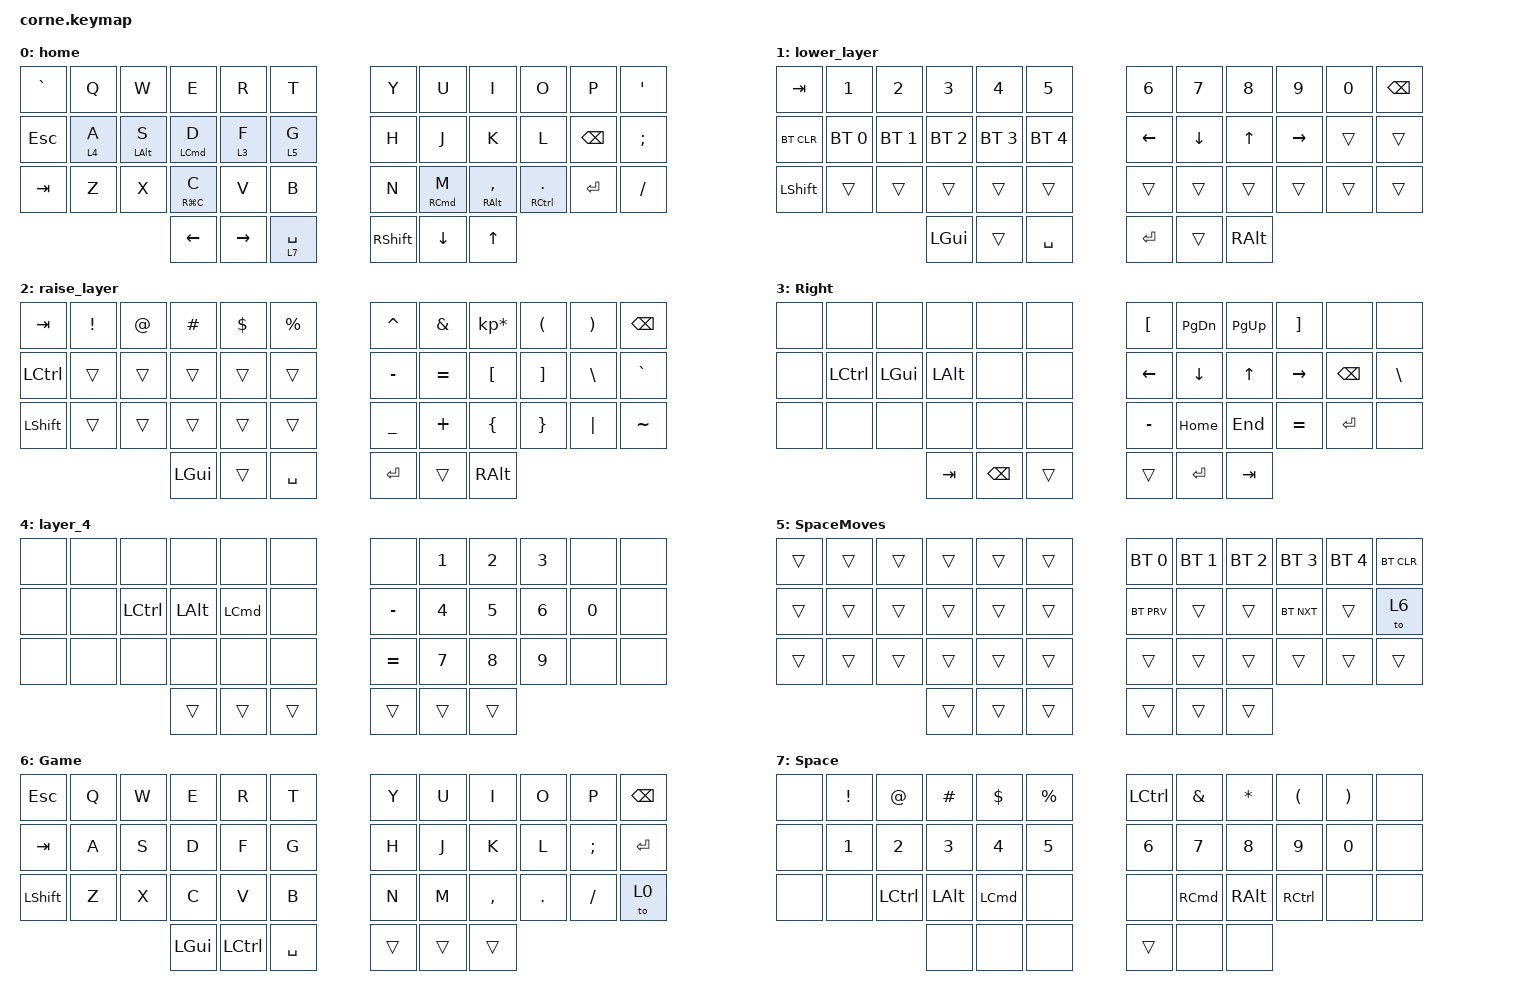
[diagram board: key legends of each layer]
/*
 * Copyright (c) 2020 The ZMK Contributors
 *
 * SPDX-License-Identifier: MIT
 */

#include <behaviors.dtsi>
#include <dt-bindings/zmk/bt.h>
#include <dt-bindings/zmk/keys.h>

/ {
    behaviors {
        ht: ht {
            compatible = "zmk,behavior-hold-tap";
            label = "Hold Tap";
            bindings =
                <&kp>,
                <&kp>;

            #binding-cells = <2>;
            tapping-term-ms = <400>;
            flavor = "balanced";
        };
        htL: htL {
            compatible = "zmk,behavior-hold-tap";
            label = "HTL";
            bindings =
                <&mo>,
                <&kp>;

            #binding-cells = <2>;
            tapping-term-ms = <400>;
            flavor = "balanced";
        };
    };

    keymap {
        compatible = "zmk,keymap";

        home {
            // -----------------------------------------------------------------------------------------
            // |  TAB |  Q  |  W  |  E  |  R  |  T  |   |  Y  |  U   |  I  |  O  |  P  | BKSP |
            // | CTRL |  A  |  S  |  D  |  F  |  G  |   |  H  |  J   |  K  |  L  |  ;  |  '   |
            // | SHFT |  Z  |  X  |  C  |  V  |  B  |   |  N  |  M   |  ,  |  .  |  /  | ESC  |
            //                    | GUI | LWR | SPC |   | ENT | RSE  | ALT |

            bindings = <
&kp GRAVE  &kp Q     &kp W       &kp E        &kp R      &kp T           &kp Y            &kp U       &kp I                &kp O             &kp P          &kp SQT
&kp ESC    &htL 4 A  &ht LALT S  &ht LCMD D   &htL 3 F   &htL 5 G        &kp H            &kp J       &kp K                &kp L             &kp BACKSPACE  &kp SEMICOLON
&kp TAB    &kp Z     &kp X       &ht RG(C) C  &kp V      &kp B           &kp N            &ht RCMD M  &ht RIGHT_ALT COMMA  &ht RCTRL PERIOD  &kp RETURN     &kp SLASH
                                 &kp LEFT     &kp RIGHT  &htL 7 SPACE    &kp RIGHT_SHIFT  &kp DOWN    &kp UP_ARROW
            >;
        };

        lower_layer {
            // -----------------------------------------------------------------------------------------
            // |  TAB |  1  |  2  |  3  |  4  |  5  |   |  6  |  7  |  8  |  9  |  0  | BKSP |
            // | BTCLR| BT1 | BT2 | BT3 | BT4 | BT5 |   | LFT | DWN |  UP | RGT |     |      |
            // | SHFT |     |     |     |     |     |   |     |     |     |     |     |      |
            //                    | GUI |     | SPC |   | ENT |     | ALT |

            bindings = <
&kp TAB     &kp N1        &kp N2        &kp N3        &kp N4        &kp N5          &kp N6    &kp N7    &kp N8    &kp N9     &kp N0  &kp BSPC
&bt BT_CLR  &bt BT_SEL 0  &bt BT_SEL 1  &bt BT_SEL 2  &bt BT_SEL 3  &bt BT_SEL 4    &kp LEFT  &kp DOWN  &kp UP    &kp RIGHT  &trans  &trans
&kp LSHFT   &trans        &trans        &trans        &trans        &trans          &trans    &trans    &trans    &trans     &trans  &trans
                                        &kp LGUI      &trans        &kp SPACE       &kp RET   &trans    &kp RALT
            >;
        };

        raise_layer {
            // -----------------------------------------------------------------------------------------
            // |  TAB |  !  |  @  |  #  |  $  |  %  |   |  ^  |  &  |  *  |  (  |  )  | BKSP |
            // | CTRL |     |     |     |     |     |   |  -  |  =  |  [  |  ]  |  \  |  `   |
            // | SHFT |     |     |     |     |     |   |  _  |  +  |  {  |  }  | "|" |  ~   |
            //                    | GUI |     | SPC |   | ENT |     | ALT |

            bindings = <
&kp TAB    &kp EXCL  &kp AT  &kp HASH  &kp DLLR  &kp PRCNT    &kp CARET  &kp AMPS   &kp KP_MULTIPLY  &kp LPAR  &kp RPAR  &kp BSPC
&kp LCTRL  &trans    &trans  &trans    &trans    &trans       &kp MINUS  &kp EQUAL  &kp LBKT         &kp RBKT  &kp BSLH  &kp GRAVE
&kp LSHFT  &trans    &trans  &trans    &trans    &trans       &kp UNDER  &kp PLUS   &kp LBRC         &kp RBRC  &kp PIPE  &kp TILDE
                             &kp LGUI  &trans    &kp SPACE    &kp RET    &trans     &kp RALT
            >;
        };

        Right {
            bindings = <
&none  &none      &none     &none     &none          &none     &kp LEFT_BRACKET  &kp PAGE_DOWN  &kp PAGE_UP  &kp RIGHT_BRACKET  &none          &none
&none  &kp LCTRL  &kp LGUI  &kp LALT  &none          &none     &kp LEFT          &kp DOWN       &kp UP       &kp RIGHT          &kp BACKSPACE  &kp BACKSLASH
&none  &none      &none     &none     &none          &none     &kp MINUS         &kp HOME       &kp END      &kp EQUAL          &kp ENTER      &none
                            &kp TAB   &kp BACKSPACE  &trans    &trans            &kp RET        &kp TAB
            >;
        };

        layer_4 {
            bindings = <
&none  &none  &none      &none         &none     &none     &none      &kp N1  &kp N2  &kp N3  &none   &none
&none  &none  &kp LCTRL  &kp LEFT_ALT  &kp LCMD  &none     &kp MINUS  &kp N4  &kp N5  &kp N6  &kp N0  &none
&none  &none  &none      &none         &none     &none     &kp EQUAL  &kp N7  &kp N8  &kp N9  &none   &none
                         &trans        &trans    &trans    &trans     &trans  &trans
            >;
        };

        BT {
            bindings = <
&trans  &trans  &trans  &trans  &trans  &trans    &bt BT_SEL 0  &bt BT_SEL 1  &bt BT_SEL 2  &bt BT_SEL 3  &bt BT_SEL 4  &bt BT_CLR
&trans  &trans  &trans  &trans  &trans  &trans    &bt BT_PRV    &trans        &trans        &bt BT_NXT    &trans        &to 6
&trans  &trans  &trans  &trans  &trans  &trans    &trans        &trans        &trans        &trans        &trans        &trans
                        &trans  &trans  &trans    &trans        &trans        &trans
            >;

            label = "SpaceMoves";
        };

        Game {
            bindings = <
&kp ESC    &kp Q  &kp W  &kp E     &kp R      &kp T        &kp Y   &kp U   &kp I      &kp O    &kp P     &kp BACKSPACE
&kp TAB    &kp A  &kp S  &kp D     &kp F      &kp G        &kp H   &kp J   &kp K      &kp L    &kp SEMI  &kp ENTER
&kp LSHFT  &kp Z  &kp X  &kp C     &kp V      &kp B        &kp N   &kp M   &kp COMMA  &kp DOT  &kp FSLH  &to 0
                         &kp LGUI  &kp LCTRL  &kp SPACE    &trans  &trans  &trans
            >;
        };

        Space {
            bindings = <
&none  &kp EXCLAMATION  &kp AT_SIGN  &kp HASH      &kp DOLLAR  &kp PERCENT    &kp LCTRL  &kp AMPERSAND  &kp ASTERISK   &kp LEFT_PARENTHESIS  &kp RIGHT_PARENTHESIS  &none
&none  &kp N1           &kp N2       &kp N3        &kp N4      &kp N5         &kp N6     &kp N7         &kp N8         &kp N9                &kp N0                 &none
&none  &none            &kp LCTRL    &kp LEFT_ALT  &kp LCMD    &none          &none      &kp RCMD       &kp RIGHT_ALT  &kp RCTRL             &none                  &none
                                     &none         &none       &none          &trans     &none          &none
            >;
        };
    };
};
